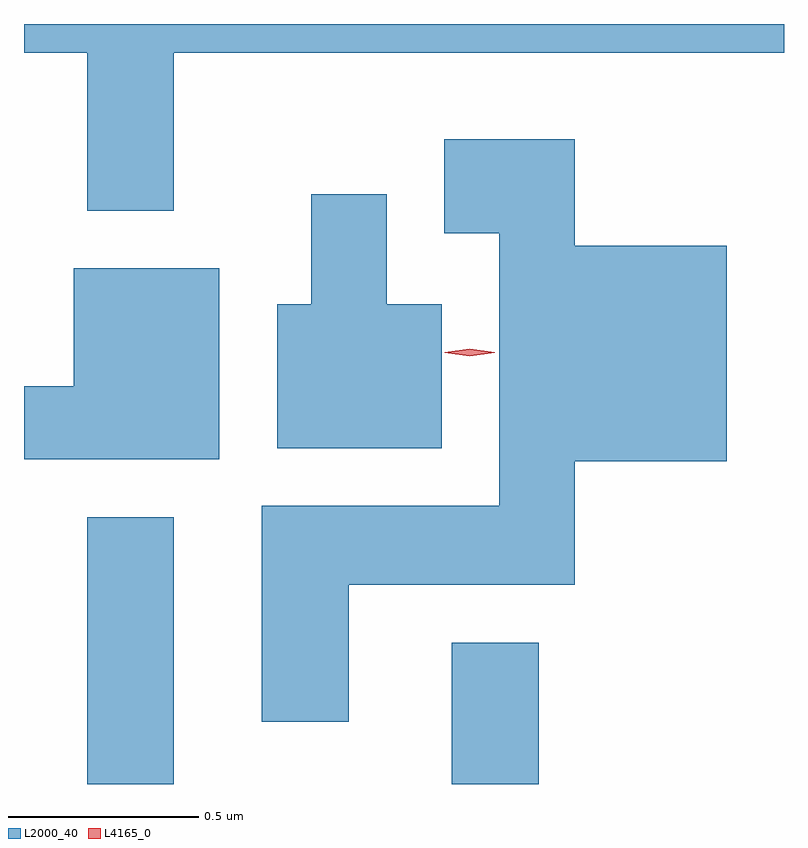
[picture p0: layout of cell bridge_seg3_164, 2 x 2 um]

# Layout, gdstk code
import gdstk
lib = gdstk.Library(unit=1e-6, precision=1e-09)
def R(c, l, rs):  # rectangles x0, y0, x1, y1
    for r in rs: c.add(gdstk.rectangle(r[:2], r[2:], *l))
def P(c, l, *ps):  # polygons
    for p in ps: c.add(gdstk.Polygon(p, *l))
L2000_40 = (2000, 40)
L4165_0 = (4165, 0)

bridge_seg3_164 = lib.new_cell('bridge_seg3_164')
R(bridge_seg3_164, L2000_40, [(828.781,1208.452,829.009,1209.154), (829.741,1208.452,829.969,1208.824)])
P(bridge_seg3_164, L2000_40, [(829.009,1210.376),(830.615,1210.376),(830.615,1210.452),(828.615,1210.452),(828.615,1210.376),(828.781,1210.376),(828.781,1209.961),(829.009,1209.961)],
  [(829.469,1208.976),(830.064,1208.976),(830.064,1209.301),(830.464,1209.301),(830.464,1209.869),(830.064,1209.869),(830.064,1210.149),(829.721,1210.149),(829.721,1209.901),(829.866,1209.901),(829.866,1209.184),(829.241,1209.184),(829.241,1208.616),(829.469,1208.616)],
  [(829.714,1209.714),(829.569,1209.714),(829.569,1210.004),(829.371,1210.004),(829.371,1209.714),(829.281,1209.714),(829.281,1209.336),(829.714,1209.336)],
  [(829.129,1209.809),(828.746,1209.809),(828.746,1209.499),(828.615,1209.499),(828.615,1209.306),(829.129,1209.306)])
P(bridge_seg3_164, L4165_0, [(829.788,1209.578),(829.722,1209.587),(829.722,1209.588),(829.722,1209.588),(829.788,1209.598),(829.854,1209.588),(829.854,1209.588),(829.854,1209.587)])

lib.write_gds('bridge_seg3_164.gds')
